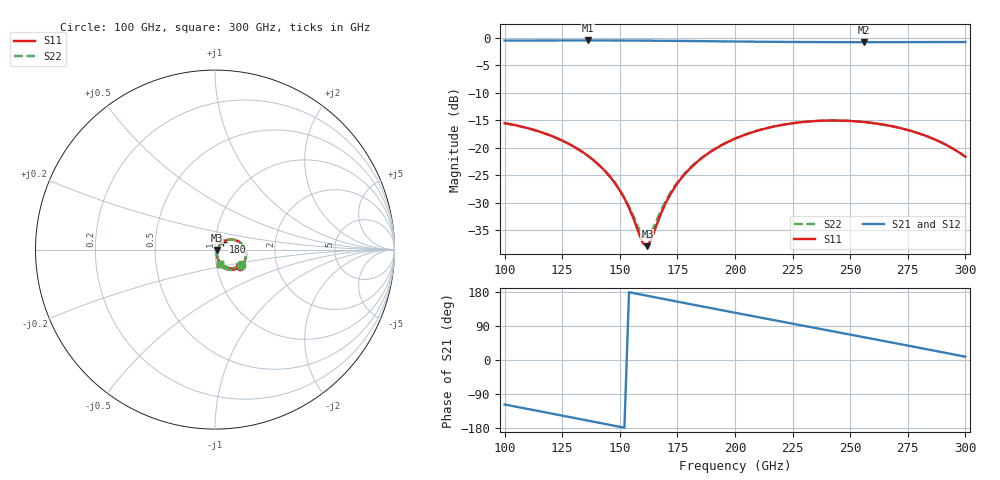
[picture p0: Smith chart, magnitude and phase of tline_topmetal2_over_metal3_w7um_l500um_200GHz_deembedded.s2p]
! Created with skrf 2.2.0 (http://scikit-rf.org).
# GHz S DB R 50.0
! Port[1] = P1
! Port[2] = P2
!freq dBS11 angS11 dBS21 angS21 dBS12 angS12 dBS22 angS22
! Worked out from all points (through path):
!   101 points, 100 GHz to 300 GHz, reference 50 ohm
!   highest |S21| = -0.48 dB at 136 GHz (marker M1); lowest = -0.8 dB at 256 GHz (marker M2)
!   group delay of S21, straight-line fit = 3.24 ps
!   lowest |S11| = -37.9 dB at 162 GHz (marker M3), VSWR 1.03, Z = 51.3 - j0.152 ohm
!   |S11| at or under -10 dB: start of sweep to end of sweep
!   |S22| runs from -36.3 to -15.0 dB; largest |S21 - S12| = 1e-14
!   S11 on the Smith chart (normalised r, x): 100 GHz: 1.30, -0.24; 180 GHz: 1.09, +0.10; 300 GHz: 1.04, -0.17
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100  -15.51 -32.4  -0.51 -117.5  -0.51 -117.5  -15.53 -31.9
118  -17.46 -50.9  -0.49 -138.5  -0.49 -138.5  -17.48 -50.1
134  -20.80 -66.0  -0.48 -157.4  -0.48 -157.4  -20.82 -64.6
136  -21.39 -67.7  -0.48 -159.7  -0.48 -159.7  -21.41 -66.1
144  -24.40 -73.0  -0.49 -169.2  -0.49 -169.2  -24.39 -70.6
150  -27.74 -73.8  -0.49 -176.3  -0.49 -176.3  -27.67 -70.3
154  -30.92 -69.8  -0.50 178.9  -0.50 178.9  -30.69 -65.0
160  -37.33 -34.4  -0.51 171.8  -0.51 171.8  -36.02 -29.4
162  -37.87 -6.7  -0.52 169.4  -0.52 169.4  -36.29 -6.3
164  -36.28 17.3  -0.52 167.0  -0.52 167.0  -35.04 13.9
168  -31.81 38.8  -0.54 162.3  -0.54 162.3  -31.26 34.7
174  -27.06 45.1  -0.56 155.2  -0.56 155.2  -26.84 42.3
180  -23.96 43.6  -0.58 148.1  -0.58 148.1  -23.84 41.6
190  -20.55 36.2  -0.63 136.4  -0.63 136.4  -20.49 34.9
200  -18.34 26.8  -0.67 124.7  -0.67 124.7  -18.30 25.9
218  -16.03 8.3  -0.74 103.9  -0.74 103.9  -16.01 7.7
234  -15.15 -8.6  -0.78 85.4  -0.78 85.4  -15.14 -9.0
244  -15.04 -19.1  -0.79 73.9  -0.79 73.9  -15.03 -19.4
256  -15.31 -31.6  -0.80 60.1  -0.80 60.1  -15.31 -31.8
268  -16.06 -43.8  -0.79 46.2  -0.79 46.2  -16.06 -44.0
284  -18.01 -59.4  -0.78 27.5  -0.78 27.5  -18.01 -59.4
300  -21.63 -72.1  -0.77 8.7  -0.77 8.7  -21.63 -71.9
